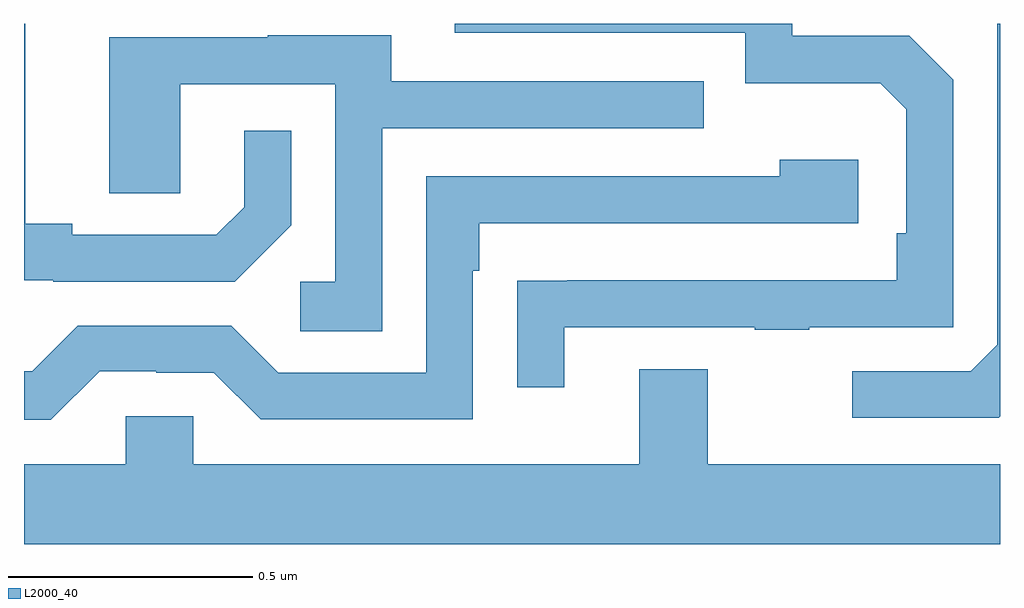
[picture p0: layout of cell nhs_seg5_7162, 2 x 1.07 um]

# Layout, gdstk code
import gdstk
lib = gdstk.Library(unit=1e-6, precision=1e-09)
def P(c, l, *ps):  # polygons
    for p in ps: c.add(gdstk.Polygon(p, *l))
L2000_40 = (2000, 40)

nhs_seg5_7162 = lib.new_cell('nhs_seg5_7162')
P(nhs_seg5_7162, L2000_40, [(206.107,885.177),(206.497,885.177),(206.497,885.172),(206.609,885.172),(206.609,885.177),(206.904,885.177),(206.904,885.684),(206.814,885.774),(206.574,885.774),(206.574,885.799),(205.883,885.799),(205.883,885.78),(206.478,885.78),(206.478,885.677),(206.755,885.677),(206.808,885.624),(206.808,885.37),(206.788,885.37),(206.788,885.273),(206.113,885.273),(206.113,885.272),(206.011,885.272),(206.011,885.054),(206.107,885.054)],
  [(207,884.994),(207,885.799),(206.994,885.799),(206.994,885.141),(206.94,885.087),(206.697,885.087),(206.697,884.991),(206.997,884.991)],
  [(205.548,885.386),(205.548,885.58),(205.451,885.58),(205.451,885.423),(205.394,885.366),(205.099,885.366),(205.099,885.389),(205.003,885.389),(205.003,885.799),(205,885.799),(205,885.273),(205.06,885.273),(205.06,885.27),(205.432,885.27)],
  [(205.734,885.585),(206.393,885.585),(206.393,885.681),(205.753,885.681),(205.753,885.775),(205.499,885.775),(205.499,885.771),(205.175,885.771),(205.175,885.451),(205.32,885.451),(205.32,885.675),(205.638,885.675),(205.638,885.27),(205.566,885.27),(205.566,885.169),(205.734,885.169)],
  [(205.155,885.087),(205.271,885.087),(205.271,885.084),(205.389,885.084),(205.485,884.988),(205.92,884.988),(205.92,885.293),(205.933,885.293),(205.933,885.39),(206.71,885.39),(206.71,885.52),(206.549,885.52),(206.549,885.486),(205.824,885.486),(205.824,885.084),(205.521,885.084),(205.425,885.18),(205.11,885.18),(205.017,885.087),(205,885.087),(205,884.987),(205.055,884.987)],
  [(207,884.896),(206.401,884.896),(206.401,885.091),(206.261,885.091),(206.261,884.896),(205.347,884.896),(205.347,884.994),(205.209,884.994),(205.209,884.896),(205,884.896),(205,884.732),(207,884.732)])

lib.write_gds('nhs_seg5_7162.gds')
